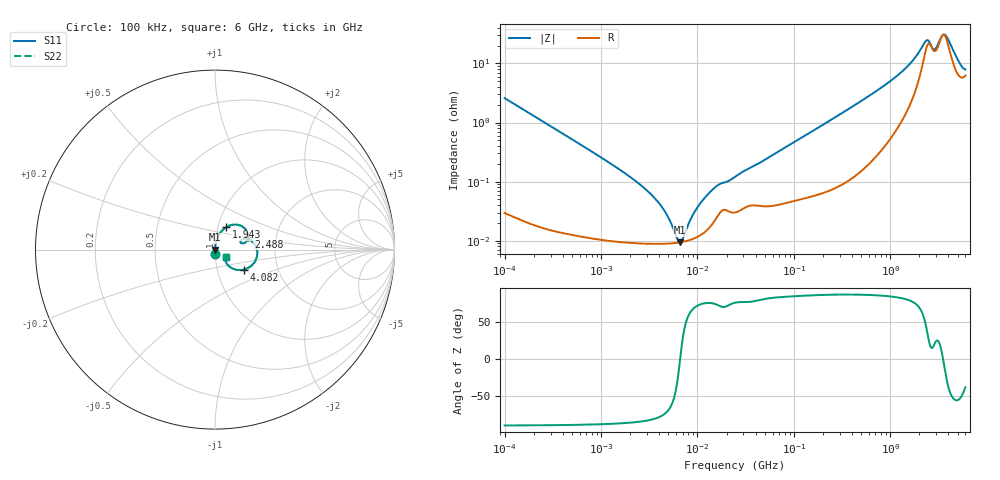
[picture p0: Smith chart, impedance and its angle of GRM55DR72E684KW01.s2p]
!Murata Part Number: GRM55DR72E684KW01
!These Parameters are Measured in Series Mode Connection
!Data Generated on Mar 30, 2021
!  o--ll--o
!Port1  Port2
!  o------o
!Operation Temp=25[degC], DC Bias Voltage=0[V]
!Freq. Start=100[kHz] Stop=6[GHz] 401[Steps]
# Hz S RI R 50
!Freq.(Hz) S11(Real) S11(Imag) S21(Real) S21(Imag) S12(Real) S12(Imag) S22(Real) S22(Imag)
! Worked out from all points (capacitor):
!   401 points, 100 kHz to 6 GHz, reference 50 ohm
!   read as one part in series: C = 613 nF near 105.7 kHz
!   lowest |Z| = 9.4 mohm at 6.542 MHz (marker M1)
!   series resonance near 6.611 MHz, so ESL is about 950 pH
!   S11 on the Smith chart (normalised r, x): 100 kHz: 1.00, -0.05; 1.943 GHz: 1.10, +0.28; 2.488 GHz: 1.44, +0.22; 4.082 GHz: 1.35, -0.31; 6 GHz: 1.12, -0.10
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100000  0.000964 -0.0259  0.999 0.0259  0.999 0.0259  0.000964 -0.0259
631452  0.000133 -0.00411  0.9999 0.00411  0.9999 0.00411  0.000133 -0.00411
2177120  9.21e-05 -0.00108  0.9999 0.00108  0.9999 0.00108  9.21e-05 -0.00108
3987316  8.84e-05 -0.000424  0.9999 0.000424  0.9999 0.000424  8.84e-05 -0.000424
4833907  8.91e-05 -0.000256  0.9999 0.000256  0.9999 0.000256  8.91e-05 -0.000256
6023672  9.18e-05 -7.53e-05  0.9999 7.53e-05  0.9999 7.53e-05  9.18e-05 -7.53e-05
6541803  9.36e-05 -8.5e-06  0.9999 8.5e-06  0.9999 8.5e-06  9.36e-05 -8.5e-06
7104501  9.6e-05 5.86e-05  0.9999 -5.86e-05  0.9999 -5.86e-05  9.6e-05 5.86e-05
9353785  0.00011 0.00029  0.9999 -0.00029  0.9999 -0.00029  0.00011 0.00029
1.198108e7  0.000141 0.000521  0.9999 -0.000521  0.9999 -0.000521  0.000141 0.000521
1.621418e7  0.000263 0.000826  0.9997 -0.000826  0.9997 -0.000826  0.000263 0.000826
2.517799e7  0.000305 0.0012  0.9997 -0.0012  0.9997 -0.0012  0.000305 0.0012
1.546735e8  0.000612 0.00708  0.9994 -0.00708  0.9994 -0.00708  0.000612 0.00708
9.76689e8  0.00733 0.0481  0.9927 -0.0481  0.9927 -0.0481  0.00733 0.0481
1.942633e9  0.0631 0.1253  0.9369 -0.1253  0.9369 -0.1253  0.0631 0.1253
2.2912e9  0.1498 0.1307  0.8502 -0.1307  0.8502 -0.1307  0.1498 0.1307
2.488279e9  0.1854 0.073  0.8146 -0.073  0.8146 -0.073  0.1854 0.073
2.855131e9  0.1414 0.0425  0.8586 -0.0425  0.8586 -0.0425  0.1414 0.0425
3.557862e9  0.2361 -0.012  0.7639 0.012  0.7639 0.012  0.2361 -0.012
4.082404e9  0.1627 -0.1113  0.8373 0.1113  0.8373 0.1113  0.1627 -0.1113
5.374892e9  0.0597 -0.0657  0.9403 0.0657  0.9403 0.0657  0.0597 -0.0657
6e9  0.0606 -0.0432  0.9394 0.0432  0.9394 0.0432  0.0606 -0.0432
